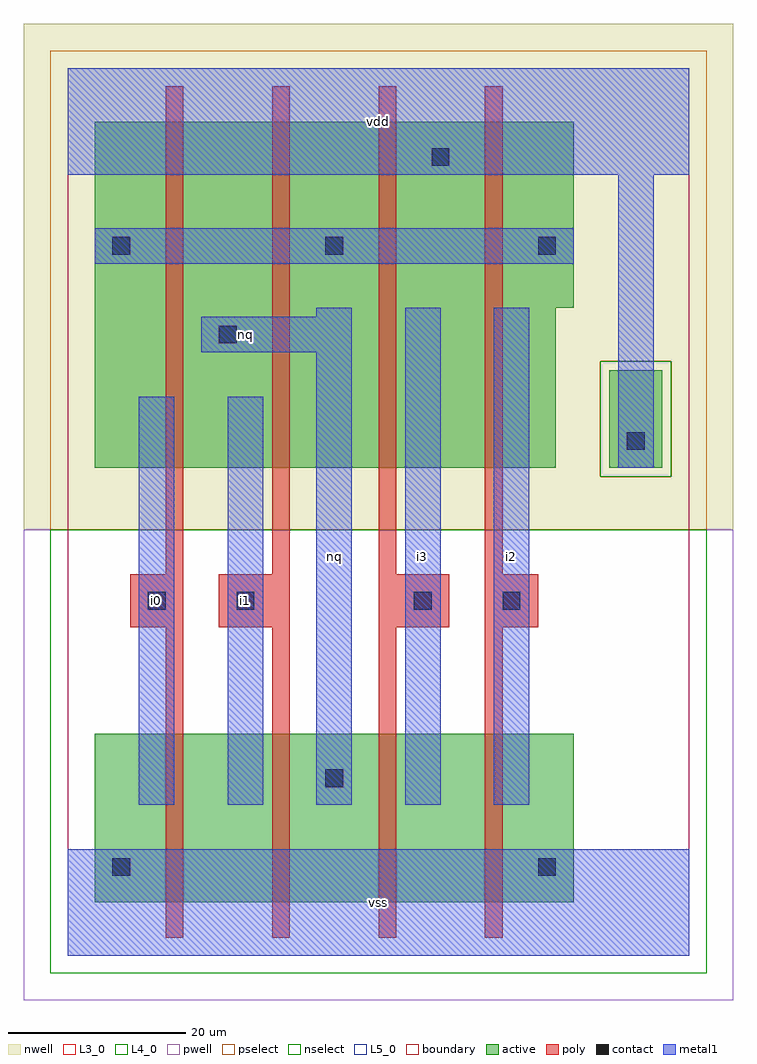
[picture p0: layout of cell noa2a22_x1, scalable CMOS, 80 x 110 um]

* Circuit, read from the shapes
.subckt noa2a22_x1 i0 i1 i2 i3 nq vdd vss
M1 n1 i0 vss VSUBS nfet w=19u l=2u
M2 nq i1 n1 VSUBS nfet w=19u l=2u
M3 n2 i3 nq VSUBS nfet w=19u l=2u
M4 vss i2 n2 VSUBS nfet w=19u l=2u
M5 nq i0 n3 vdd pfet w=39u l=2u
M6 n3 i1 nq vdd pfet w=39u l=2u
M7 vdd i3 n3 vdd pfet w=39u l=2u
M8 n3 i2 vdd vdd pfet w=39u l=2u
.ends

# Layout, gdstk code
import gdstk
lib = gdstk.Library(unit=1e-6, precision=1e-09)
def R(c, l, rs):  # rectangles x0, y0, x1, y1
    for r in rs: c.add(gdstk.rectangle(r[:2], r[2:], *l))
def A(c, l, x, y, w, h, nx, ny, dx, dy):  # array of equal rectangles
    R(c, l, [(x+i*dx, y+j*dy, x+i*dx+w, y+j*dy+h) for i in range(nx) for j in range(ny)])
L3_0 = (3, 0)
L4_0 = (4, 0)
L5_0 = (5, 0)
contact = (25, 0)
pwell = (41, 0)
nwell = (42, 0)
active = (43, 0)
pselect = (44, 0)
nselect = (45, 0)
poly = (46, 0)
metal1 = (49, 0)
boundary = (63, 0)

noa2a22_x1 = lib.new_cell('noa2a22_x1')
R(noa2a22_x1, L3_0, [(3,6,57,25)])
R(noa2a22_x1, L4_0, [(3,55,55,73), (3,73,57,94)])
R(noa2a22_x1, L5_0, [(61,55,67,66)])
A(noa2a22_x1, contact, 5, 79, 2, 2, 3, 1, 24, 0)
R(noa2a22_x1, contact, [(5,9,7,11), (53,9,55,11), (29,19,31,21), (9,39,11,41), (19,39,21,41), (39,39,41,41), (49,39,51,41), (63,57,65,59), (17,69,19,71), (41,89,43,91)])
R(noa2a22_x1, pwell, [(-5,-5,75,48)])
R(noa2a22_x1, nwell, [(-5,48,75,105)])
R(noa2a22_x1, active, [(3,6,57,25), (3,55,55,73), (61,55,67,66), (3,73,57,94)])
R(noa2a22_x1, pselect, [(-2,48,72,54), (-2,54,60,67), (68,54,72,67), (-2,67,72,102)])
R(noa2a22_x1, nselect, [(-2,-2,72,48), (60,54,68,67)])
A(noa2a22_x1, poly, 11, 2, 2, 35, 4, 1, 12, 0)
A(noa2a22_x1, poly, 11, 43, 2, 55, 4, 1, 12, 0)
R(noa2a22_x1, poly, [(7,37,13,43), (17,37,25,43), (35,37,43,43), (47,37,53,43)])
R(noa2a22_x1, metal1, [(0,0,70,12), (8,17,12,63), (18,17,22,63), (28,17,32,68), (38,17,42,73), (48,17,52,73), (62,55,66,88), (15,68,32,72), (28,72,32,73), (3,78,57,82), (0,88,70,100)])
R(noa2a22_x1, boundary, [(0,0,70,100)])
noa2a22_x1.add(gdstk.Label('i0', (10,40), layer=49, texttype=0))
noa2a22_x1.add(gdstk.Label('i1', (20,40), layer=49, texttype=0))
noa2a22_x1.add(gdstk.Label('nq', (30,45), layer=49, texttype=0))
noa2a22_x1.add(gdstk.Label('nq', (20,70), layer=49, texttype=0))
noa2a22_x1.add(gdstk.Label('vss', (35,6), layer=49, texttype=0))
noa2a22_x1.add(gdstk.Label('i2', (50,45), layer=49, texttype=0))
noa2a22_x1.add(gdstk.Label('i3', (40,45), layer=49, texttype=0))
noa2a22_x1.add(gdstk.Label('vdd', (35,94), layer=49, texttype=0))

lib.write_gds('noa2a22_x1.gds')
